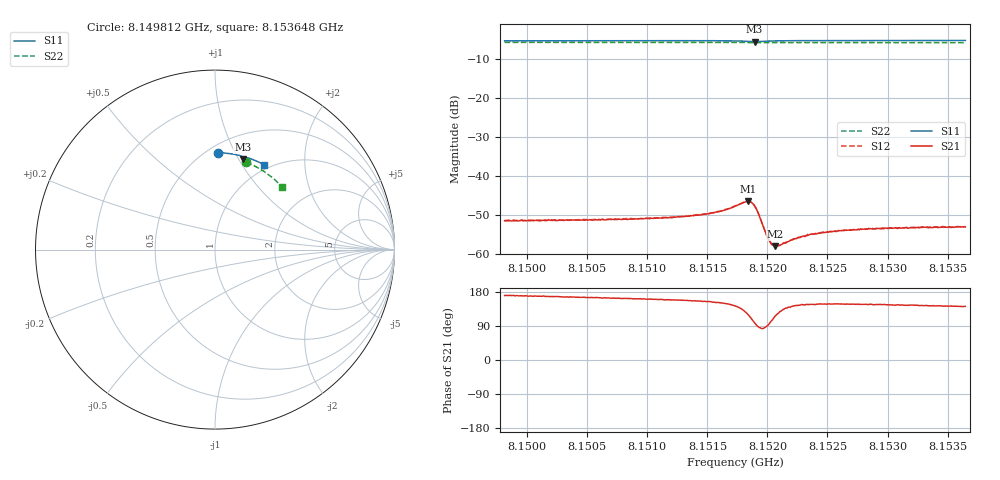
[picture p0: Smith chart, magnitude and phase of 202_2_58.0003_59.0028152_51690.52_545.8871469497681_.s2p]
#  HZ  S  RI  R  50.00
! Rohde & Schwarz Vector Network Analyzer
! Rohde-Schwarz,ZNB20-2Port,1311601062101988,3.16
! Created: UTC 3/21/2024, 12:59:17 AM
! freq[Hz]  re:S11  im:S11  re:S21  im:S21  re:S12  im:S12  re:S22  im:S22
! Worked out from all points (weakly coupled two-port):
!   401 points, 8.149812 GHz to 8.153648 GHz, reference 50 ohm
!   highest |S21| = -46.59 dB at 8.151836 GHz (marker M1); lowest = -58.1 dB at 8.152066 GHz (marker M2)
!   lowest |S11| = -5.6 dB at 8.151893 GHz (marker M3), VSWR 3.23, Z = 37.3 + j52 ohm
!   |S11| at or under -10 dB: nowhere
!   |S22| runs from -5.8 to -5.7 dB; largest |S21 - S12| = 0.00011
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8.1498124e9  0.0177 0.5396  -0.00261 0.000456  -0.00259 0.000491  0.1743 0.4854
8.1504549e9  0.0626 0.5374  -0.00261 0.00068  -0.00261 0.000741  0.2129 0.4692
8.1510974e9  0.1076 0.5312  -0.00268 0.001  -0.00269 0.00104  0.2494 0.4499
8.151222e9  0.1165 0.5295  -0.00271 0.00108  -0.00272 0.00112  0.2563 0.446
8.1514426e9  0.1323 0.5255  -0.00286 0.0013  -0.00288 0.00139  0.2686 0.4383
8.1516056e9  0.1448 0.5217  -0.00304 0.00171  -0.00306 0.00172  0.2773 0.4326
8.1517303e9  0.1547 0.5164  -0.00324 0.00245  -0.00321 0.00252  0.2838 0.4278
8.151807e9  0.1593 0.5098  -0.00289 0.00353  -0.00291 0.00358  0.2876 0.4249
8.1518357e9  0.1595 0.5064  -0.00242 0.00401  -0.00233 0.00403  0.2891 0.4236
8.1518645e9  0.1576 0.5039  -0.00156 0.00428  -0.00149 0.00433  0.2906 0.4226
8.1518933e9  0.1546 0.5034  -0.00058 0.00404  -0.000566 0.00409  0.2917 0.4216
8.151922e9  0.1528 0.5057  0.000109 0.00335  0.000154 0.00335  0.2931 0.4208
8.1519892e9  0.1558 0.512  6.98e-05 0.00177  0.000111 0.00178  0.2967 0.4186
8.1520083e9  0.1575 0.513  -8.12e-05 0.00153  -4.08e-05 0.00152  0.2977 0.4178
8.1520371e9  0.1604 0.5138  -0.000313 0.00126  -0.000327 0.00127  0.2993 0.4167
8.1520659e9  0.1631 0.5141  -0.000554 0.00112  -0.00049 0.00115  0.3009 0.4157
8.1521042e9  0.1667 0.5144  -0.000785 0.00101  -0.000783 0.00102  0.3027 0.4142
8.1522193e9  0.1763 0.5129  -0.00124 0.000925  -0.00119 0.000952  0.3087 0.4096
8.1523727e9  0.1877 0.5097  -0.00149 0.000969  -0.00149 0.000974  0.3164 0.4035
8.1526508e9  0.207 0.5032  -0.00167 0.00109  -0.00165 0.00112  0.33 0.3921
8.1530152e9  0.2308 0.4934  -0.00174 0.00119  -0.00174 0.00125  0.3472 0.3763
8.1536481e9  0.2706 0.474  -0.00172 0.00137  -0.00173 0.00142  0.375 0.3475
